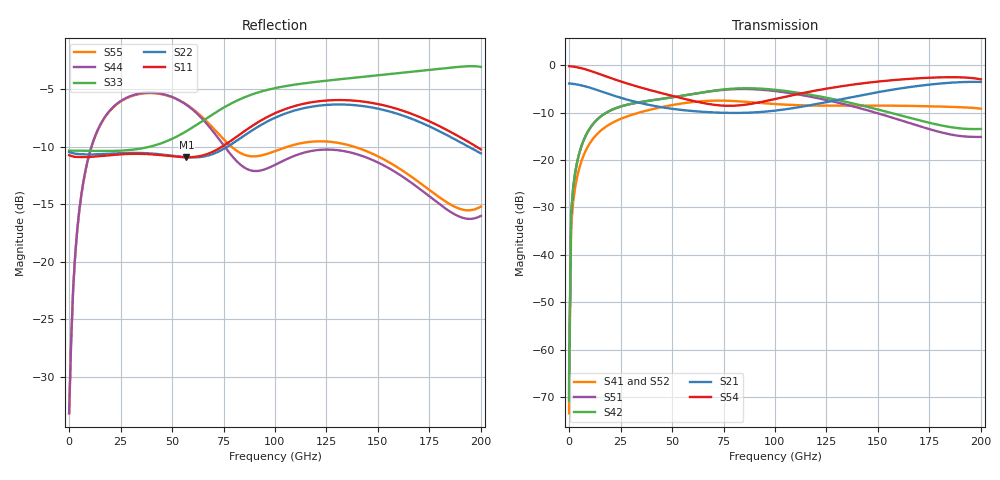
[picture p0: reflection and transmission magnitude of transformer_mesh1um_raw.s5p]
#  GHZ S DB R 50.0
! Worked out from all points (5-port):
!   202 points, 10 MHz to 200 GHz, reference 50 ohm
!   strongest paths, dB at 10 MHz, 49 GHz, 100 GHz, 150 GHz, 200 GHz:
!     S54: -0.2, -6.3, -7.1, -3.4, -3.0
!     S21: -3.8, -9.1, -9.6, -5.7, -3.5
!     S42: -70.8, -6.8, -5.2, -9.3, -13.4
!     S51: -70.8, -6.8, -5.4, -10.1, -15.1
!     S41: -73.4, -8.5, -8.2, -8.5, -9.2
!     S52: -73.4, -8.5, -8.2, -8.6, -9.4
!   lowest |S11| = -10.9 dB at 57 GHz (marker M1), VSWR 1.80, Z = 72.9 + j27.6 ohm
!   |S11| at or under -10 dB: start of sweep to 74.23 GHz; 197.9 GHz to end of sweep
